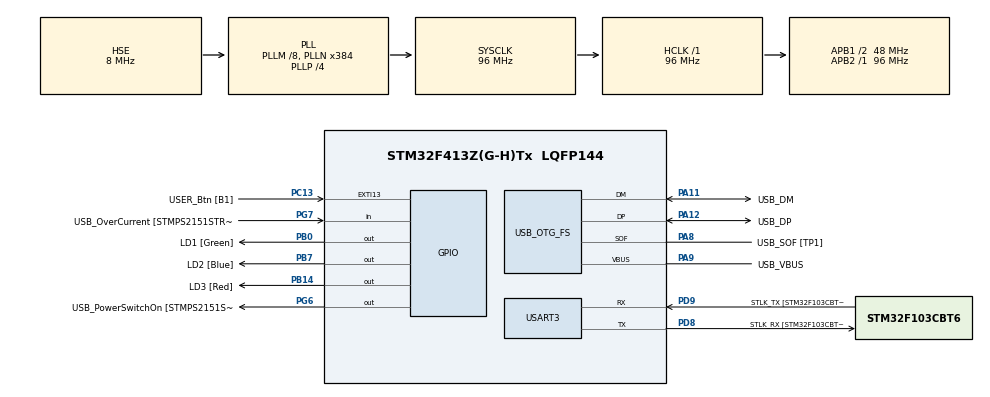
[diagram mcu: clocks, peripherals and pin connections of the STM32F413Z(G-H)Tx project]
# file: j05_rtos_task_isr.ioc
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FREERTOS.Queues01=NumberQueue,16,uint16_t,0,Dynamic,NULL,NULL
FREERTOS.Tasks01=defaultTask,24,128,StartDefaultTask,Default,NULL,Dynamic,NULL,NULL;TaskA,8,128,StartTaskA,Default,NULL,Dynamic,NULL,NULL;TaskB,8,128,StartTaskB,Default,NULL,Dynamic,NULL,NULL
FREERTOS.configUSE_NEWLIB_REENTRANT=1
Mcu.Family=STM32F4
Mcu.Name=STM32F413Z(G-H)Tx
Mcu.Package=LQFP144
NVIC.EXTI15_10_IRQn=true\:5\:0\:false\:false\:true\:true\:true\:true\:true
NVIC.PriorityGroup=NVIC_PRIORITYGROUP_4
PA10.GPIO_Label=USB_ID
PA10.Signal=USB_OTG_FS_ID
PA11.GPIO_Label=USB_DM
PA11.Mode=Device_Only
PA11.Signal=USB_OTG_FS_DM
PA12.GPIO_Label=USB_DP
PA12.Mode=Device_Only
PA12.Signal=USB_OTG_FS_DP
PA13.GPIO_Label=TMS
PA13.Mode=Serial_Wire
PA13.Signal=SYS_JTMS-SWDIO
PA14.GPIO_Label=TCK
PA14.Mode=Serial_Wire
PA14.Signal=SYS_JTCK-SWCLK
PA8.GPIO_Label=USB_SOF [TP1]
PA8.Mode=Activate_SOF_FS
PA8.Signal=USB_OTG_FS_SOF
PA9.GPIO_Label=USB_VBUS
PA9.Mode=Activate_VBUS
PA9.Signal=USB_OTG_FS_VBUS
PB0.GPIO_Label=LD1 [Green]
PB0.Signal=GPIO_Output
PB14.GPIO_Label=LD3 [Red]
PB14.Signal=GPIO_Output
PB3.GPIO_Label=SWO
PB3.Signal=SYS_JTDO-SWO
PB7.GPIO_Label=LD2 [Blue]
PB7.Signal=GPIO_Output
PC13.GPIO_Label=USER_Btn [B1]
PC13.GPIO_ModeDefaultEXTI=GPIO_MODE_IT_RISING_FALLING
PC13.Signal=GPXTI13
PC14-OSC32_IN.Mode=LSE-External-Oscillator
PC14-OSC32_IN.Signal=RCC_OSC32_IN
PC15-OSC32_OUT.Mode=LSE-External-Oscillator
PC15-OSC32_OUT.Signal=RCC_OSC32_OUT
PD8.GPIO_Label=STLK_RX [STM32F103CBT6_PA3]
PD8.Mode=Asynchronous
PD8.Signal=USART3_TX
PD9.GPIO_Label=STLK_TX [STM32F103CBT6_PA2]
PD9.Mode=Asynchronous
PD9.Signal=USART3_RX
PG6.GPIO_Label=USB_PowerSwitchOn [STMPS2151STR_EN]
PG6.Signal=GPIO_Output
PG7.GPIO_Label=USB_OverCurrent [STMPS2151STR_FAULT]
PG7.Signal=GPIO_Input
PH0\ -\ OSC_IN.GPIO_Label=MCO
PH0\ -\ OSC_IN.Mode=HSE-External-Clock-Source
PH0\ -\ OSC_IN.Signal=RCC_OSC_IN
PH1\ -\ OSC_OUT.Mode=HSE-External-Clock-Source
PH1\ -\ OSC_OUT.Signal=RCC_OSC_OUT
ProjectManager.HeapSize=0x200
ProjectManager.StackSize=0x400
ProjectManager.TargetToolchain=STM32CubeIDE
RCC.48MHZClocksFreq_Value=24000000
RCC.AHBFreq_Value=96000000
RCC.APB1CLKDivider=RCC_HCLK_DIV2
RCC.APB1Freq_Value=48000000
RCC.APB1TimFreq_Value=96000000
RCC.APB2Freq_Value=96000000
RCC.APB2TimFreq_Value=96000000
RCC.CortexFreq_Value=96000000
RCC.HCLKFreq_Value=96000000
RCC.HSE_VALUE=8000000
RCC.HSI_VALUE=16000000
RCC.PLLM=8
RCC.PLLMUL=RCC_PLL_MUL9
RCC.PLLN=384
RCC.PLLP=RCC_PLLP_DIV4
RCC.PLLQ=8
RCC.PRESCALERUSB=RCC_USBCLKSOURCE_PLL_DIV1_5
RCC.SYSCLKFreq_VALUE=96000000
RCC.SYSCLKSource=RCC_SYSCLKSOURCE_PLLCLK
RCC.SYSCLKSourceVirtual=RCC_SYSCLKSOURCE_PLLCLK
RCC.USBFreq_Value=48000000
RCC.VCOOutputFreq_Value=384000000
USART3.VirtualMode=VM_ASYNC
USB_OTG_FS.VirtualMode=Device_Only
VP_FREERTOS_VS_CMSIS_V2.Mode=CMSIS_V2
board=NUCLEO-F413ZH

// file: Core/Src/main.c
/* USER CODE BEGIN Header */
/**
  ******************************************************************************
  * @file           : main.c
  * @brief          : Main program body
  ******************************************************************************
  * @attention
  *
  * Copyright (c) 2025 STMicroelectronics.
  * All rights reserved.
  *
  * This software is licensed under terms that can be found in the LICENSE file
  * in the root directory of this software component.
  * If no LICENSE file comes with this software, it is provided AS-IS.
  *
  ******************************************************************************
  */
/* USER CODE END Header */
#include "main.h"
#include "cmsis_os.h"

/* USER CODE BEGIN Includes */
#include <stdio.h>
/* USER CODE END Includes */

/* USER CODE BEGIN PD */
// 定義倒數計時的起始數字
#define COUNTDOWN_START 10
/* USER CODE END PD */

UART_HandleTypeDef huart3;

PCD_HandleTypeDef hpcd_USB_OTG_FS;

/* Definitions for defaultTask */
osThreadId_t defaultTaskHandle;
const osThreadAttr_t defaultTask_attributes = {
  .name = "defaultTask",
  .stack_size = 128 * 4,
  .priority = (osPriority_t) osPriorityNormal,
};
/* Definitions for TaskA */
osThreadId_t TaskAHandle;
const osThreadAttr_t TaskA_attributes = {
  .name = "TaskA",
  .stack_size = 128 * 4,
  .priority = (osPriority_t) osPriorityLow,
};
/* Definitions for TaskB */
osThreadId_t TaskBHandle;
const osThreadAttr_t TaskB_attributes = {
  .name = "TaskB",
  .stack_size = 128 * 4,
  .priority = (osPriority_t) osPriorityLow,
};
/* Definitions for NumberQueue */
osMessageQueueId_t NumberQueueHandle;
const osMessageQueueAttr_t NumberQueue_attributes = {
  .name = "NumberQueue"
};
/* USER CODE BEGIN PV */
// 用於從中斷請求重置計數的標誌 (volatile 確保編譯器不會因優化而忽略此變數)
volatile uint8_t g_reset_request = 0;
/* USER CODE END PV */

void SystemClock_Config(void);
static void MX_GPIO_Init(void);
static void MX_USART3_UART_Init(void);
static void MX_USB_OTG_FS_PCD_Init(void);
void StartDefaultTask(void *argument);
void StartTaskA(void *argument);
void StartTaskB(void *argument);

/* USER CODE BEGIN 0 */
#ifdef __GNUC__
  /* With GCC, small printf (option LD Linker->Libraries->Small printf
     set to 'Yes') calls __io_putchar() */
  #define PUTCHAR_PROTOTYPE int __io_putchar(int ch)
#else
  #define PUTCHAR_PROTOTYPE int fputc(int ch, FILE *f)
#endif /* __GNUC__ */

/**
  * @brief  Retargets the C library printf function to the USART.
  * @param  None
  * @retval None
  */
PUTCHAR_PROTOTYPE
{
  /* 將 printf 的字元輸出到 USART3 */
  HAL_UART_Transmit(&huart3, (uint8_t *)&ch, 1, HAL_MAX_DELAY);
  return ch;
}
/* USER CODE END 0 */

int main(void)
{

  /* MCU Configuration--------------------------------------------------------*/

  /* Reset of all peripherals, Initializes the Flash interface and the Systick. */
  HAL_Init();

  /* Configure the system clock */
  SystemClock_Config();

  /* Initialize all configured peripherals */
  MX_GPIO_Init();
  MX_USART3_UART_Init();
  MX_USB_OTG_FS_PCD_Init();

  /* Init scheduler */
  osKernelInitialize();

  /* Create the queue(s) */
  /* creation of NumberQueue */
  NumberQueueHandle = osMessageQueueNew (16, sizeof(uint16_t), &NumberQueue_attributes);

  /* Create the thread(s) */
  /* creation of defaultTask */
  defaultTaskHandle = osThreadNew(StartDefaultTask, NULL, &defaultTask_attributes);

  /* creation of TaskA */
  TaskAHandle = osThreadNew(StartTaskA, NULL, &TaskA_attributes);

  /* creation of TaskB */
  TaskBHandle = osThreadNew(StartTaskB, NULL, &TaskB_attributes);

  /* Start scheduler */
  osKernelStart();

  /* We should never get here as control is now taken by the scheduler */

  /* Infinite loop */
  while (1)
  {

  }
}

void SystemClock_Config(void)
{
  RCC_OscInitTypeDef RCC_OscInitStruct = {0};
  RCC_ClkInitTypeDef RCC_ClkInitStruct = {0};

  /** Configure the main internal regulator output voltage
  */
  __HAL_RCC_PWR_CLK_ENABLE();
  __HAL_PWR_VOLTAGESCALING_CONFIG(PWR_REGULATOR_VOLTAGE_SCALE1);

  /** Initializes the RCC Oscillators according to the specified parameters
  * in the RCC_OscInitTypeDef structure.
  */
  RCC_OscInitStruct.OscillatorType = RCC_OSCILLATORTYPE_HSE;
  RCC_OscInitStruct.HSEState = RCC_HSE_BYPASS;
  RCC_OscInitStruct.PLL.PLLState = RCC_PLL_ON;
  RCC_OscInitStruct.PLL.PLLSource = RCC_PLLSOURCE_HSE;
  RCC_OscInitStruct.PLL.PLLM = 8;
  RCC_OscInitStruct.PLL.PLLN = 384;
  RCC_OscInitStruct.PLL.PLLP = RCC_PLLP_DIV4;
  RCC_OscInitStruct.PLL.PLLQ = 8;
  RCC_OscInitStruct.PLL.PLLR = 2;
  if (HAL_RCC_OscConfig(&RCC_OscInitStruct) != HAL_OK)
  {
    Error_Handler();
  }

  /** Initializes the CPU, AHB and APB buses clocks
  */
  RCC_ClkInitStruct.ClockType = RCC_CLOCKTYPE_HCLK|RCC_CLOCKTYPE_SYSCLK
                              |RCC_CLOCKTYPE_PCLK1|RCC_CLOCKTYPE_PCLK2;
  RCC_ClkInitStruct.SYSCLKSource = RCC_SYSCLKSOURCE_PLLCLK;
  RCC_ClkInitStruct.AHBCLKDivider = RCC_SYSCLK_DIV1;
  RCC_ClkInitStruct.APB1CLKDivider = RCC_HCLK_DIV2;
  RCC_ClkInitStruct.APB2CLKDivider = RCC_HCLK_DIV1;

  if (HAL_RCC_ClockConfig(&RCC_ClkInitStruct, FLASH_LATENCY_3) != HAL_OK)
  {
    Error_Handler();
  }
}

static void MX_USART3_UART_Init(void)
{

  huart3.Instance = USART3;
  huart3.Init.BaudRate = 115200;
  huart3.Init.WordLength = UART_WORDLENGTH_8B;
  huart3.Init.StopBits = UART_STOPBITS_1;
  huart3.Init.Parity = UART_PARITY_NONE;
  huart3.Init.Mode = UART_MODE_TX_RX;
  huart3.Init.HwFlowCtl = UART_HWCONTROL_NONE;
  huart3.Init.OverSampling = UART_OVERSAMPLING_16;
  if (HAL_UART_Init(&huart3) != HAL_OK)
  {
    Error_Handler();
  }

}

static void MX_USB_OTG_FS_PCD_Init(void)
{

  hpcd_USB_OTG_FS.Instance = USB_OTG_FS;
  hpcd_USB_OTG_FS.Init.dev_endpoints = 6;
  hpcd_USB_OTG_FS.Init.speed = PCD_SPEED_FULL;
  hpcd_USB_OTG_FS.Init.dma_enable = DISABLE;
  hpcd_USB_OTG_FS.Init.phy_itface = PCD_PHY_EMBEDDED;
  hpcd_USB_OTG_FS.Init.Sof_enable = ENABLE;
  hpcd_USB_OTG_FS.Init.low_power_enable = DISABLE;
  hpcd_USB_OTG_FS.Init.lpm_enable = DISABLE;
  hpcd_USB_OTG_FS.Init.battery_charging_enable = ENABLE;
  hpcd_USB_OTG_FS.Init.vbus_sensing_enable = ENABLE;
  hpcd_USB_OTG_FS.Init.use_dedicated_ep1 = DISABLE;
  if (HAL_PCD_Init(&hpcd_USB_OTG_FS) != HAL_OK)
  {
    Error_Handler();
  }

}

static void MX_GPIO_Init(void)
{
  GPIO_InitTypeDef GPIO_InitStruct = {0};

  /* GPIO Ports Clock Enable */
  __HAL_RCC_GPIOC_CLK_ENABLE();
  __HAL_RCC_GPIOH_CLK_ENABLE();
  __HAL_RCC_GPIOB_CLK_ENABLE();
  __HAL_RCC_GPIOD_CLK_ENABLE();
  __HAL_RCC_GPIOG_CLK_ENABLE();
  __HAL_RCC_GPIOA_CLK_ENABLE();

  /*Configure GPIO pin Output Level */
  HAL_GPIO_WritePin(GPIOB, LD1_Pin|LD3_Pin|LD2_Pin, GPIO_PIN_RESET);

  /*Configure GPIO pin Output Level */
  HAL_GPIO_WritePin(USB_PowerSwitchOn_GPIO_Port, USB_PowerSwitchOn_Pin, GPIO_PIN_RESET);

  /*Configure GPIO pin : USER_Btn_Pin */
  GPIO_InitStruct.Pin = USER_Btn_Pin;
  GPIO_InitStruct.Mode = GPIO_MODE_IT_RISING_FALLING;
  GPIO_InitStruct.Pull = GPIO_NOPULL;
  HAL_GPIO_Init(USER_Btn_GPIO_Port, &GPIO_InitStruct);

  /*Configure GPIO pins : LD1_Pin LD3_Pin LD2_Pin */
  GPIO_InitStruct.Pin = LD1_Pin|LD3_Pin|LD2_Pin;
  GPIO_InitStruct.Mode = GPIO_MODE_OUTPUT_PP;
  GPIO_InitStruct.Pull = GPIO_NOPULL;
  GPIO_InitStruct.Speed = GPIO_SPEED_FREQ_LOW;
  HAL_GPIO_Init(GPIOB, &GPIO_InitStruct);

  /*Configure GPIO pin : USB_PowerSwitchOn_Pin */
  GPIO_InitStruct.Pin = USB_PowerSwitchOn_Pin;
  GPIO_InitStruct.Mode = GPIO_MODE_OUTPUT_PP;
  GPIO_InitStruct.Pull = GPIO_NOPULL;
  GPIO_InitStruct.Speed = GPIO_SPEED_FREQ_LOW;
  HAL_GPIO_Init(USB_PowerSwitchOn_GPIO_Port, &GPIO_InitStruct);

  /*Configure GPIO pin : USB_OverCurrent_Pin */
  GPIO_InitStruct.Pin = USB_OverCurrent_Pin;
  GPIO_InitStruct.Mode = GPIO_MODE_INPUT;
  GPIO_InitStruct.Pull = GPIO_NOPULL;
  HAL_GPIO_Init(USB_OverCurrent_GPIO_Port, &GPIO_InitStruct);

  /* EXTI interrupt init*/
  HAL_NVIC_SetPriority(EXTI15_10_IRQn, 5, 0);
  HAL_NVIC_EnableIRQ(EXTI15_10_IRQn);

}

/* USER CODE BEGIN 4 */
/**
  * @brief  外部中斷回呼函式
  * @param  GPIO_Pin: 觸發中斷的 GPIO 引腳
  * @retval None
  */
void HAL_GPIO_EXTI_Callback(uint16_t GPIO_Pin)
{
  // 檢查是否是使用者按鈕觸發的中斷
  if(GPIO_Pin == USER_Btn_Pin)
  {
    // 檢查按鈕是否被按下（上升沿），避免彈跳造成多次觸發
    if (HAL_GPIO_ReadPin(USER_Btn_GPIO_Port, USER_Btn_Pin) == GPIO_PIN_SET)
    {
      // 設置重置標誌，TaskB 將會處理這個請求
      g_reset_request = 1;
    }
  }
}
/* USER CODE END 4 */

void StartDefaultTask(void *argument)
{
  for(;;)
  {
    osDelay(1);
  }
}

void StartTaskA(void *argument)
{
  /* USER CODE BEGIN StartTaskA */
  uint16_t received_number;

  /* Infinite loop */
  for(;;)
  {
    // 等待從佇列中接收數據，無限期等待
    if (osMessageQueueGet(NumberQueueHandle, &received_number, NULL, osWaitForever) == osOK)
    {
      // 根據接收到的數字執行不同的動作
      if (received_number == 0)
      {
        printf("happy new year ~\r\n");
      }
      else
      {
        printf("Countdown: %u\r\n", received_number);
      }
    }
  }
  /* USER CODE END StartTaskA */
}

void StartTaskB(void *argument)
{
  /* USER CODE BEGIN StartTaskB */
  // 初始化計數器為起始數字
  uint16_t current_number = COUNTDOWN_START;

  /* Infinite loop */
  for(;;)
  {
    // 檢查是否有來自按鈕中斷的重置請求
    if (g_reset_request == 1)
    {
      // 重置計數器
      current_number = COUNTDOWN_START;
      // 清除重置標誌
      g_reset_request = 0;
      printf("---- Counter Reset ----\r\n");
    }

    // 將當前數字放入佇列。timeout 設為 0 表示如果佇列已滿則不等待。
    osMessageQueuePut(NumberQueueHandle, &current_number, 0U, 0U);

    // 如果數字大於 0，則遞減。如果等於 0，則保持為 0。
    if (current_number > 0)
    {
      current_number--;
    }

    // 延遲 1000 毫秒 (1 秒)
    osDelay(1000);
  }
  /* USER CODE END StartTaskB */
}

void Error_Handler(void)
{
  __disable_irq();
  while (1)
  {
  }
}
